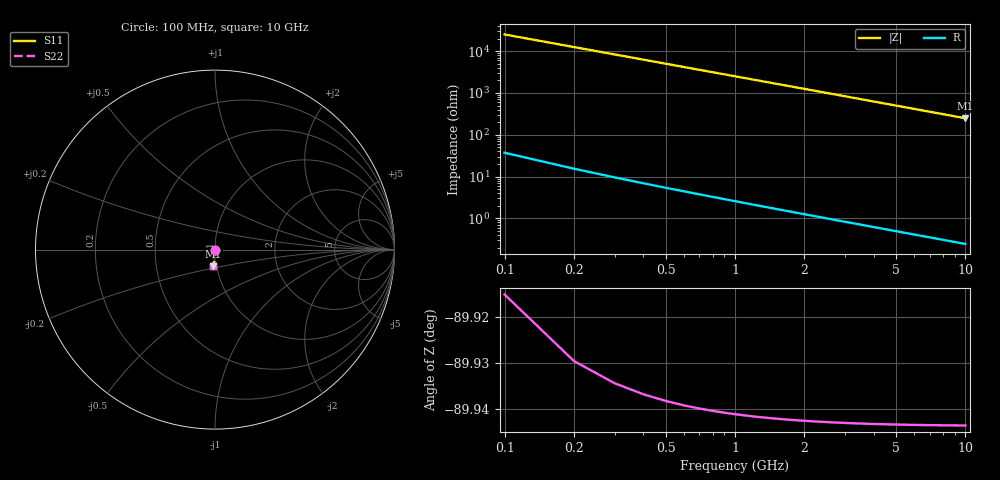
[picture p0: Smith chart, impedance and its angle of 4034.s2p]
# Hz S RI R 50.00
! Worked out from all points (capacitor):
!   100 points, 100 MHz to 10 GHz, reference 50 ohm
!   read as one part in shunt: C = 63.3 fF near 100 MHz
!   lowest |Z| = 249 ohm at 10 GHz (marker M1)
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1e8  1.2e-05 -0.000933  1 -0.00105  1 -0.00105  1.2e-05 -0.000933
2e8  8.16e-06 -0.00187  1 -0.00211  1 -0.00211  8.16e-06 -0.00187
3e8  2.34e-06 -0.0028  1 -0.00316  1 -0.00316  2.34e-06 -0.0028
4e8  -5.46e-06 -0.00373  1 -0.00422  1 -0.00422  -5.46e-06 -0.00373
5e8  -1.52e-05 -0.00467  1 -0.00527  1 -0.00527  -1.52e-05 -0.00467
6e8  -2.7e-05 -0.0056  0.9999 -0.00633  0.9999 -0.00633  -2.7e-05 -0.0056
7e8  -4.07e-05 -0.00653  0.9999 -0.00738  0.9999 -0.00738  -4.07e-05 -0.00653
8e8  -5.64e-05 -0.00747  0.9999 -0.00844  0.9999 -0.00844  -5.64e-05 -0.00747
9e8  -7.41e-05 -0.0084  0.9999 -0.00949  0.9999 -0.00949  -7.41e-05 -0.0084
1.1e9  -0.000115 -0.0103  0.9999 -0.0116  0.9999 -0.0116  -0.000115 -0.0103
1.4e9  -0.000192 -0.0131  0.9998 -0.0148  0.9998 -0.0148  -0.000192 -0.0131
1.8e9  -0.000322 -0.0168  0.9996 -0.019  0.9996 -0.019  -0.000322 -0.0168
2.1e9  -0.000441 -0.0196  0.9995 -0.0222  0.9995 -0.0222  -0.000441 -0.0196
2.5e9  -0.000627 -0.0234  0.9993 -0.0264  0.9993 -0.0264  -0.000627 -0.0234
2.9e9  -0.000845 -0.0271  0.9991 -0.0306  0.9991 -0.0306  -0.000845 -0.0271
3.4e9  -0.00116 -0.0318  0.9988 -0.0359  0.9988 -0.0359  -0.00116 -0.0318
4.2e9  -0.00177 -0.0393  0.9982 -0.0444  0.9982 -0.0444  -0.00177 -0.0393
5.1e9  -0.00262 -0.0477  0.9973 -0.054  0.9973 -0.054  -0.00262 -0.0477
5.9e9  -0.0035 -0.0552  0.9964 -0.0624  0.9964 -0.0624  -0.0035 -0.0552
6.7e9  -0.00452 -0.0627  0.9954 -0.0709  0.9954 -0.0709  -0.00452 -0.0627
8.4e9  -0.0071 -0.0785  0.9928 -0.0889  0.9928 -0.0889  -0.0071 -0.0785
1e10  -0.0101 -0.0934  0.9898 -0.1057  0.9898 -0.1057  -0.0101 -0.0934
